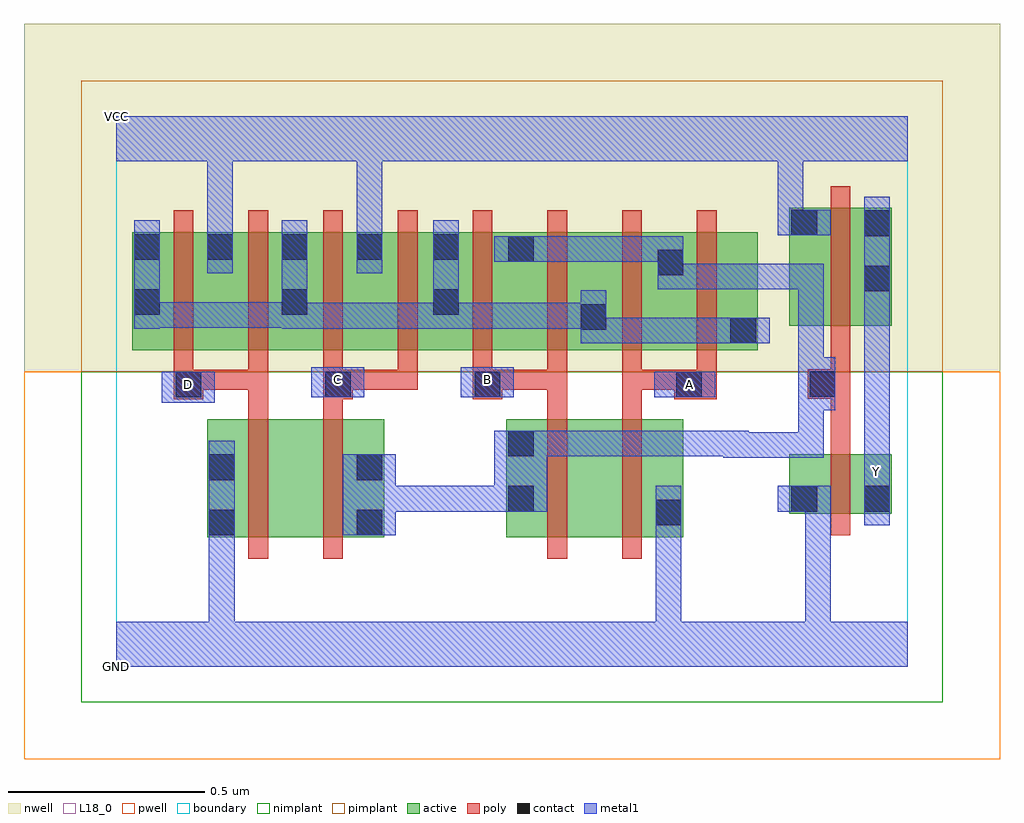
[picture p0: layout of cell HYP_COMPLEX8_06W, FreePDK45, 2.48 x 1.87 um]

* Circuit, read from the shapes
.subckt HYP_COMPLEX8_06W A B C D GND VCC Y
M1 n1 D GND VSUBS nfet w=0.3u l=0.05u
M2 n2 C n1 VSUBS nfet w=0.3u l=0.05u
M3 n3 B n2 VSUBS nfet w=0.3u l=0.05u
M4 GND A n3 VSUBS nfet w=0.3u l=0.05u
M5 Y n2 GND VSUBS nfet w=0.15u l=0.05u
M6 VCC D n4 n5 pfet w=0.3u l=0.05u m=2
M7 VCC C n4 n5 pfet w=0.3u l=0.05u m=2
M8 n2 B n4 n5 pfet w=0.3u l=0.05u m=2
M9 n2 A n4 n5 pfet w=0.3u l=0.05u m=2
M10 Y n2 VCC n5 pfet w=0.3u l=0.05u
.ends

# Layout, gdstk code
import gdstk
lib = gdstk.Library(unit=1e-6, precision=1e-09)
def R(c, l, rs):  # rectangles x0, y0, x1, y1
    for r in rs: c.add(gdstk.rectangle(r[:2], r[2:], *l))
def A(c, l, x, y, w, h, nx, ny, dx, dy):  # array of equal rectangles
    R(c, l, [(x+i*dx, y+j*dy, x+i*dx+w, y+j*dy+h) for i in range(nx) for j in range(ny)])
active = (1, 0)
pwell = (2, 0)
nwell = (3, 0)
nimplant = (4, 0)
pimplant = (5, 0)
poly = (9, 0)
contact = (10, 0)
metal1 = (11, 0)
L18_0 = (18, 0)
boundary = (235, 0)

hyp_complex8_06w = lib.new_cell('HYP_COMPLEX8_06W')
A(hyp_complex8_06w, active, 0.225, 0.805, 0.075, 0.3, 3, 1, 0.19, 0)
R(hyp_complex8_06w, active, [(0.23,0.33,0.455,0.63), (0.23,0.33,0.305,0.63), (0.455,0.33,0.68,0.63), (0.605,0.33,0.68,0.63), (0.99,0.33,1.215,0.63), (0.99,0.33,1.065,0.63), (1.215,0.33,1.44,0.63), (1.365,0.33,1.44,0.61), (1.71,0.39,1.785,0.54), (1.71,0.39,1.97,0.54), (1.895,0.39,1.97,0.54), (0.04,0.805,0.115,1.105), (0.04,0.805,0.3,1.105), (0.225,0.805,0.49,1.105), (0.415,0.805,0.68,1.105), (0.605,0.805,0.875,1.105), (0.8,0.805,0.875,1.105), (0.8,0.805,1.065,1.105), (0.99,0.805,1.065,1.105), (0.99,0.805,1.25,1.105), (1.175,0.805,1.445,1.105), (1.37,0.805,1.445,1.105), (1.37,0.805,1.63,1.105), (1.555,0.817,1.63,1.047), (1.175,0.852,1.25,1.07), (1.71,0.867,1.97,1.167), (1.895,0.867,1.97,1.165), (1.71,1.007,1.785,1.167)])
R(hyp_complex8_06w, pwell, [(-0.235,-0.235,2.245,0.75)])
R(hyp_complex8_06w, nwell, [(-0.235,0.75,2.245,1.635)])
R(hyp_complex8_06w, nimplant, [(-0.09,-0.09,2.1,0.75)])
R(hyp_complex8_06w, pimplant, [(-0.09,0.75,2.1,1.49)])
A(hyp_complex8_06w, poly, 0.145, 0.68, 0.075, 0.075, 3, 1, 0.38, 0)
A(hyp_complex8_06w, poly, 0.145, 0.705, 0.05, 0.095, 8, 1, 0.19, 0)
A(hyp_complex8_06w, poly, 0.17, 0.705, 0.215, 0.05, 3, 1, 0.38, 0)
A(hyp_complex8_06w, poly, 0.145, 0.75, 0.05, 0.41, 8, 1, 0.19, 0)
R(hyp_complex8_06w, poly, [(0.335,0.275,0.385,0.685), (0.525,0.275,0.575,0.685), (1.095,0.275,1.145,0.685), (1.285,0.275,1.335,0.685), (1.815,0.335,1.865,0.595), (1.815,0.545,1.865,0.732), (0.335,0.635,0.385,0.755), (0.525,0.635,0.575,0.73), (1.095,0.635,1.145,0.755), (1.285,0.635,1.335,0.755), (1.417,0.68,1.525,0.755), (1.757,0.682,1.865,0.757), (0.17,0.705,0.22,0.755), (0.17,0.705,0.22,0.755), (0.335,0.705,0.385,0.755), (0.715,0.705,0.765,0.755), (0.715,0.705,0.765,0.755), (0.715,0.705,0.765,0.755), (0.93,0.705,0.98,0.755), (0.93,0.705,0.98,0.755), (1.095,0.705,1.145,0.755), (1.285,0.705,1.467,0.755), (1.285,0.705,1.335,0.755), (1.285,0.705,1.335,0.755), (1.285,0.705,1.335,0.755), (1.815,0.707,1.865,0.862), (1.815,0.812,1.865,1.222)])
A(hyp_complex8_06w, contact, 0.15, 0.685, 0.065, 0.065, 3, 1, 0.38, 0)
A(hyp_complex8_06w, contact, 0.23, 1.035, 0.065, 0.065, 3, 1, 0.19, 0)
R(hyp_complex8_06w, contact, [(0.235,0.335,0.3,0.4), (0.61,0.335,0.675,0.4), (1.37,0.36,1.435,0.425), (0.995,0.395,1.06,0.46), (1.715,0.395,1.78,0.46), (1.9,0.395,1.965,0.46), (0.235,0.475,0.3,0.54), (0.61,0.475,0.675,0.54), (0.995,0.535,1.06,0.6), (1.422,0.685,1.487,0.75), (1.762,0.687,1.827,0.752), (1.56,0.822,1.625,0.887), (1.18,0.857,1.245,0.922), (0.045,0.895,0.11,0.96), (0.42,0.895,0.485,0.96), (0.805,0.895,0.87,0.96), (1.9,0.955,1.965,1.02), (1.375,0.995,1.44,1.06), (0.995,1.03,1.06,1.095), (0.045,1.035,0.11,1.1), (0.805,1.035,0.87,1.1), (1.9,1.095,1.965,1.16), (1.715,1.097,1.78,1.162)])
R(hyp_complex8_06w, metal1, [(0,0,2.01,0.115), (0.235,0.05,0.3,0.115), (0.235,0.05,0.3,0.115), (0.235,0.05,0.3,0.115), (0.235,0.05,0.3,0.115), (0.235,0.05,0.3,0.365), (1.37,0.05,1.435,0.39), (1.75,0.05,1.815,0.115), (1.75,0.05,1.815,0.115), (1.75,0.05,1.815,0.115), (1.75,0.05,1.815,0.115), (1.75,0.05,1.815,0.115), (1.75,0.05,1.815,0.115), (1.75,0.05,1.815,0.46), (0.235,0.3,0.3,0.575), (1.37,0.325,1.435,0.39), (1.37,0.325,1.435,0.39), (1.37,0.325,1.435,0.46), (1.37,0.325,1.435,0.392), (1.37,0.327,1.435,0.392), (0.575,0.335,0.71,0.54), (1.9,0.36,1.965,0.495), (0.645,0.395,0.71,0.46), (0.645,0.395,0.71,0.46), (0.645,0.395,0.87,0.46), (0.805,0.395,0.87,0.46), (0.805,0.395,0.87,0.46), (0.805,0.395,0.87,0.46), (0.805,0.395,1.025,0.46), (0.96,0.395,1.095,0.6), (1.68,0.395,1.815,0.46), (1.9,0.43,1.965,0.495), (1.9,0.43,1.965,0.565), (1.9,0.5,1.965,0.985), (1.542,0.532,1.607,0.597), (1.542,0.532,1.607,0.597), (1.542,0.532,1.797,0.597), (1.542,0.532,1.607,0.6), (1.732,0.532,1.797,0.597), (1.732,0.532,1.797,0.787), (1.03,0.535,1.095,0.6), (1.03,0.535,1.095,0.6), (1.03,0.535,1.295,0.6), (1.23,0.535,1.295,0.6), (1.23,0.535,1.295,0.6), (1.23,0.535,1.295,0.6), (1.23,0.535,1.452,0.6), (1.387,0.535,1.452,0.6), (1.387,0.535,1.607,0.6), (1.762,0.652,1.827,0.787), (0.115,0.672,0.25,0.75), (0.495,0.685,0.63,0.762), (0.875,0.685,1.01,0.762), (1.367,0.685,1.522,0.75), (1.732,0.722,1.797,0.787), (1.732,0.722,1.797,0.787), (1.732,0.722,1.797,0.787), (1.732,0.722,1.827,0.787), (1.732,0.722,1.797,1.025), (1.18,0.822,1.245,0.887), (1.18,0.822,1.245,0.887), (1.18,0.822,1.245,0.957), (1.18,0.822,1.452,0.887), (1.387,0.822,1.452,0.887), (1.387,0.822,1.59,0.887), (1.525,0.822,1.59,0.887), (1.525,0.822,1.59,0.887), (1.525,0.822,1.66,0.887), (0.045,0.86,0.11,1.135), (0.42,0.86,0.485,1.135), (0.42,0.86,0.485,0.925), (0.42,0.86,0.485,0.925), (0.42,0.86,0.732,0.925), (0.667,0.86,0.732,0.925), (0.667,0.86,0.732,0.925), (0.667,0.86,0.732,0.925), (0.667,0.86,0.87,0.925), (0.805,0.86,0.87,1.135), (0.805,0.86,0.87,0.925), (0.805,0.86,0.87,0.925), (0.805,0.86,1.095,0.925), (1.03,0.86,1.095,0.925), (1.03,0.86,1.095,0.925), (1.03,0.86,1.095,0.925), (1.03,0.86,1.245,0.925), (0.045,0.862,0.11,0.927), (0.045,0.862,0.11,0.927), (0.045,0.862,0.347,0.927), (0.282,0.862,0.347,0.927), (0.282,0.862,0.347,0.927), (0.282,0.862,0.347,0.927), (0.282,0.862,0.485,0.927), (1.9,0.92,1.965,1.195), (1.375,0.96,1.44,1.095), (1.375,0.96,1.607,1.025), (1.542,0.96,1.607,1.025), (1.542,0.96,1.607,1.025), (1.542,0.96,1.607,1.025), (1.542,0.96,1.797,1.025), (1.732,0.96,1.797,1.025), (0.23,1,0.295,1.135), (0.61,1,0.675,1.135), (0.96,1.03,1.095,1.095), (1.03,1.03,1.095,1.095), (1.03,1.03,1.095,1.095), (1.03,1.03,1.295,1.095), (1.23,1.03,1.295,1.095), (1.23,1.03,1.295,1.095), (1.23,1.03,1.295,1.095), (1.23,1.03,1.44,1.095), (0.23,1.07,0.295,1.35), (0.61,1.07,0.675,1.135), (0.61,1.07,0.675,1.135), (0.61,1.07,0.675,1.35), (1.68,1.097,1.745,1.162), (1.68,1.097,1.745,1.162), (1.68,1.097,1.745,1.35), (1.68,1.097,1.815,1.162), (0,1.285,2.01,1.4), (0.23,1.285,0.295,1.35), (0.23,1.285,0.295,1.35)])
R(hyp_complex8_06w, L18_0, [(0,0,2.01,0.115), (0.235,0.05,0.3,0.115), (0.235,0.05,0.3,0.115), (0.235,0.05,0.3,0.115), (0.235,0.05,0.3,0.115), (0.235,0.05,0.3,0.365), (1.37,0.05,1.435,0.39), (1.75,0.05,1.815,0.115), (1.75,0.05,1.815,0.115), (1.75,0.05,1.815,0.115), (1.75,0.05,1.815,0.115), (1.75,0.05,1.815,0.115), (1.75,0.05,1.815,0.115), (1.75,0.05,1.815,0.46), (0.235,0.3,0.3,0.575), (1.37,0.325,1.435,0.39), (1.37,0.325,1.435,0.39), (1.37,0.325,1.435,0.46), (1.37,0.325,1.435,0.392), (1.37,0.327,1.435,0.392), (1.9,0.36,1.965,0.495), (1.68,0.395,1.815,0.46), (1.9,0.43,1.965,0.495), (1.9,0.43,1.965,0.565), (1.9,0.465,1.965,0.53), (1.9,0.5,1.965,0.985), (0.115,0.672,0.25,0.75), (0.15,0.685,0.215,0.75), (0.495,0.685,0.63,0.762), (0.875,0.685,1.01,0.762), (1.367,0.685,1.522,0.75), (1.422,0.685,1.487,0.75), (0.53,0.697,0.595,0.762), (0.91,0.697,0.975,0.762), (1.9,0.92,1.965,1.195), (0.23,1,0.295,1.135), (0.61,1,0.675,1.135), (0.23,1.07,0.295,1.35), (0.61,1.07,0.675,1.135), (0.61,1.07,0.675,1.135), (0.61,1.07,0.675,1.35), (1.68,1.097,1.745,1.162), (1.68,1.097,1.745,1.162), (1.68,1.097,1.815,1.162), (1.68,1.097,1.745,1.35), (0,1.285,2.01,1.4), (0.23,1.285,0.295,1.35), (0.23,1.285,0.295,1.35)])
R(hyp_complex8_06w, boundary, [(0,0,2.01,1.4)])
hyp_complex8_06w.add(gdstk.Label('A', (1.455,0.717), layer=11, texttype=0))
hyp_complex8_06w.add(gdstk.Label('B', (0.942,0.73), layer=11, texttype=0))
hyp_complex8_06w.add(gdstk.Label('C', (0.562,0.73), layer=11, texttype=0))
hyp_complex8_06w.add(gdstk.Label('D', (0.182,0.717), layer=11, texttype=0))
hyp_complex8_06w.add(gdstk.Label('Y', (1.932,0.497), layer=11, texttype=0))
hyp_complex8_06w.add(gdstk.Label('VCC', (0,1.4), layer=11, texttype=0))
hyp_complex8_06w.add(gdstk.Label('GND', (0,0), layer=11, texttype=0))

lib.write_gds('HYP_COMPLEX8_06W.gds')
